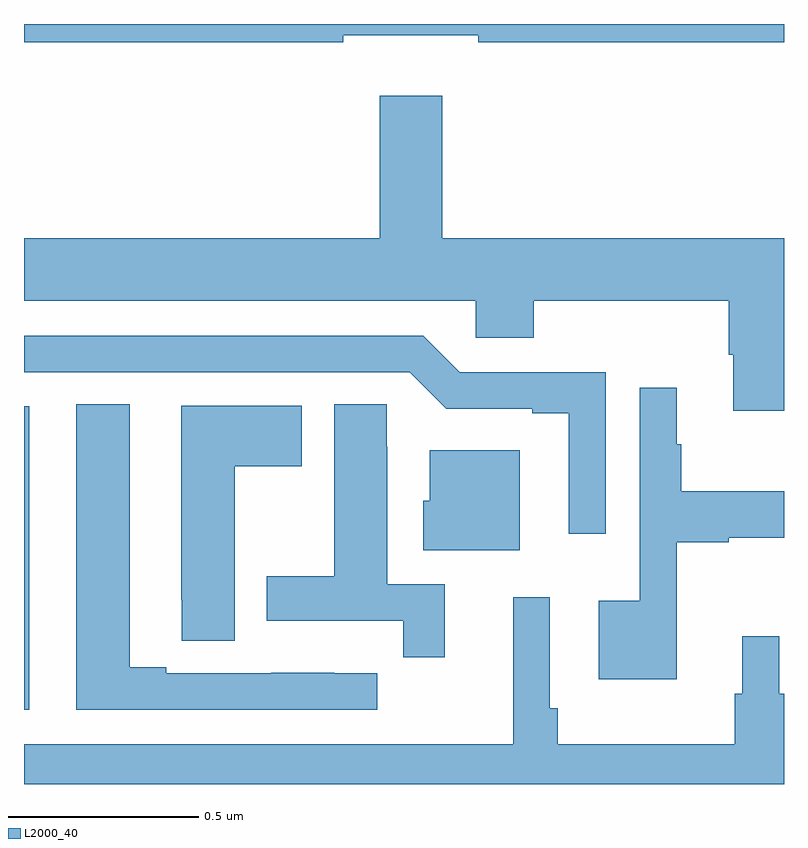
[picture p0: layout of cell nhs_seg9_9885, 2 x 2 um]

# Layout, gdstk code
import gdstk
lib = gdstk.Library(unit=1e-6, precision=1e-09)
def R(c, l, rs):  # rectangles x0, y0, x1, y1
    for r in rs: c.add(gdstk.rectangle(r[:2], r[2:], *l))
def P(c, l, *ps):  # polygons
    for p in ps: c.add(gdstk.Polygon(p, *l))
L2000_40 = (2000, 40)

nhs_seg9_9885 = lib.new_cell('nhs_seg9_9885')
R(nhs_seg9_9885, L2000_40, [(236,1176.696,236.014,1177.494)])
P(nhs_seg9_9885, L2000_40, [(236.84,1178.471),(237.196,1178.471),(237.196,1178.452),(238,1178.452),(238,1178.5),(236,1178.5),(236,1178.452),(236.84,1178.452)],
  [(238,1177.936),(237.1,1177.936),(237.1,1178.311),(236.936,1178.311),(236.936,1177.936),(236,1177.936),(236,1177.772),(237.189,1177.772),(237.189,1177.674),(237.341,1177.674),(237.341,1177.772),(237.854,1177.772),(237.854,1177.63),(237.866,1177.63),(237.866,1177.482),(238,1177.482)],
  [(237.531,1177.584),(237.147,1177.584),(237.051,1177.68),(236,1177.68),(236,1177.584),(237.015,1177.584),(237.111,1177.488),(237.338,1177.488),(237.338,1177.476),(237.434,1177.476),(237.434,1177.158),(237.531,1177.158)],
  [(237.718,1177.136),(237.855,1177.136),(237.855,1177.148),(238,1177.148),(238,1177.27),(237.73,1177.27),(237.73,1177.394),(237.718,1177.394),(237.718,1177.543),(237.621,1177.543),(237.621,1176.982),(237.512,1176.982),(237.512,1176.776),(237.718,1176.776)],
  [(236.929,1176.792),(236.816,1176.792),(236.816,1176.793),(236.65,1176.793),(236.65,1176.792),(236.374,1176.792),(236.374,1176.807),(236.278,1176.807),(236.278,1177.499),(236.138,1177.499),(236.138,1176.696),(236.929,1176.696)],
  [(237.107,1177.026),(236.956,1177.026),(236.956,1177.388),(236.955,1177.388),(236.955,1177.499),(236.816,1177.499),(236.816,1177.047),(236.639,1177.047),(236.639,1176.93),(236.998,1176.93),(236.998,1176.834),(237.107,1176.834)],
  [(236.554,1177.336),(236.731,1177.336),(236.731,1177.495),(236.414,1177.495),(236.414,1176.985),(236.415,1176.985),(236.415,1176.877),(236.554,1176.877)],
  [(237.304,1177.378),(237.068,1177.378),(237.068,1177.245),(237.05,1177.245),(237.05,1177.115),(237.304,1177.115)],
  [(238,1176.738),(237.988,1176.738),(237.988,1176.889),(237.89,1176.889),(237.89,1176.738),(237.871,1176.738),(237.871,1176.604),(237.404,1176.604),(237.404,1176.7),(237.384,1176.7),(237.384,1176.991),(237.287,1176.991),(237.287,1176.604),(236,1176.604),(236,1176.5),(238,1176.5)])

lib.write_gds('nhs_seg9_9885.gds')
